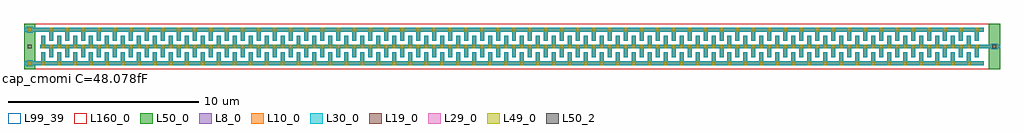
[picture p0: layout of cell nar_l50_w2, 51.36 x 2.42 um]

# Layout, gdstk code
import gdstk
lib = gdstk.Library(unit=1e-6, precision=1e-09)
def R(c, l, rs):  # rectangles x0, y0, x1, y1
    for r in rs: c.add(gdstk.rectangle(r[:2], r[2:], *l))
def A(c, l, x, y, w, h, nx, ny, dx, dy):  # array of equal rectangles
    R(c, l, [(x+i*dx, y+j*dy, x+i*dx+w, y+j*dy+h) for i in range(nx) for j in range(ny)])
L8_0 = (8, 0)
L10_0 = (10, 0)
L19_0 = (19, 0)
L29_0 = (29, 0)
L30_0 = (30, 0)
L49_0 = (49, 0)
L50_0 = (50, 0)
L50_2 = (50, 2)
L99_39 = (99, 39)
L160_0 = (160, 0)

nar_l50_w2 = lib.new_cell('nar_l50_w2')
A(nar_l50_w2, L8_0, 0, 0, 0.21, 0.575, 59, 2, 0.84, 0.89)
A(nar_l50_w2, L8_0, 0.42, 0.315, 0.21, 0.575, 59, 2, 0.84, 0.89)
R(nar_l50_w2, L8_0, [(-0.755,-0.155,-0.445,0.155), (-0.9,-0.105,49.61,0.105), (50.005,0.735,50.315,1.045), (-0.05,0.785,50.46,0.995), (-0.755,1.625,-0.445,1.935), (-0.9,1.675,49.61,1.885)])
A(nar_l50_w2, L10_0, 0, 0, 0.21, 0.575, 59, 2, 0.84, 0.89)
A(nar_l50_w2, L10_0, 0.42, 0.315, 0.21, 0.575, 59, 2, 0.84, 0.89)
R(nar_l50_w2, L10_0, [(-0.755,-0.155,-0.445,0.155), (-0.9,-0.105,49.61,0.105), (50.005,0.735,50.315,1.045), (-0.05,0.785,50.46,0.995), (-0.755,1.625,-0.445,1.935), (-0.9,1.675,49.61,1.885)])
A(nar_l50_w2, L19_0, 0.01, -0.095, 0.19, 0.19, 59, 1, 0.84, 0)
A(nar_l50_w2, L19_0, 0.01, 0.795, 0.19, 0.19, 118, 1, 0.42, 0)
A(nar_l50_w2, L19_0, 0.43, 1.685, 0.19, 0.19, 59, 1, 0.84, 0)
R(nar_l50_w2, L19_0, [(-0.695,-0.095,-0.505,0.095), (50.065,0.795,50.255,0.985), (-0.695,1.685,-0.505,1.875)])
A(nar_l50_w2, L29_0, 0.01, -0.095, 0.19, 0.19, 59, 1, 0.84, 0)
A(nar_l50_w2, L29_0, 0.01, 0.795, 0.19, 0.19, 118, 1, 0.42, 0)
A(nar_l50_w2, L29_0, 0.43, 1.685, 0.19, 0.19, 59, 1, 0.84, 0)
R(nar_l50_w2, L29_0, [(-0.695,-0.095,-0.505,0.095), (50.065,0.795,50.255,0.985), (-0.695,1.685,-0.505,1.875)])
A(nar_l50_w2, L30_0, 0, 0, 0.21, 0.575, 59, 2, 0.84, 0.89)
A(nar_l50_w2, L30_0, 0.42, 0.315, 0.21, 0.575, 59, 2, 0.84, 0.89)
R(nar_l50_w2, L30_0, [(-0.755,-0.155,-0.445,0.155), (-0.9,-0.105,49.61,0.105), (50.005,0.735,50.315,1.045), (-0.05,0.785,50.46,0.995), (-0.755,1.625,-0.445,1.935), (-0.9,1.675,49.61,1.885)])
A(nar_l50_w2, L49_0, 0.01, -0.095, 0.19, 0.19, 59, 1, 0.84, 0)
A(nar_l50_w2, L49_0, 0.01, 0.795, 0.19, 0.19, 118, 1, 0.42, 0)
A(nar_l50_w2, L49_0, 0.43, 1.685, 0.19, 0.19, 59, 1, 0.84, 0)
R(nar_l50_w2, L49_0, [(-0.695,-0.095,-0.505,0.095), (50.065,0.795,50.255,0.985), (-0.695,1.685,-0.505,1.875)])
A(nar_l50_w2, L50_0, 0, 0, 0.21, 0.575, 59, 2, 0.84, 0.89)
A(nar_l50_w2, L50_0, 0.42, 0.315, 0.21, 0.575, 59, 2, 0.84, 0.89)
R(nar_l50_w2, L50_0, [(-0.9,-0.32,-0.3,2.1), (49.86,-0.32,50.46,2.1), (-0.9,-0.105,49.61,0.105), (-0.05,0.785,50.46,0.995), (-0.9,1.675,49.61,1.885)])
R(nar_l50_w2, L50_2, [(-0.7,0.785,-0.5,0.995), (50.06,0.785,50.26,0.995)])
R(nar_l50_w2, L99_39, [(-0.9,-0.32,50.46,2.1)])
R(nar_l50_w2, L160_0, [(-0.9,-0.32,50.46,2.1)])
nar_l50_w2.add(gdstk.Label('cap_cmomi C=48.078fF', (-0.9,-0.82), layer=63, texttype=0))

lib.write_gds('nar_l50_w2.gds')
